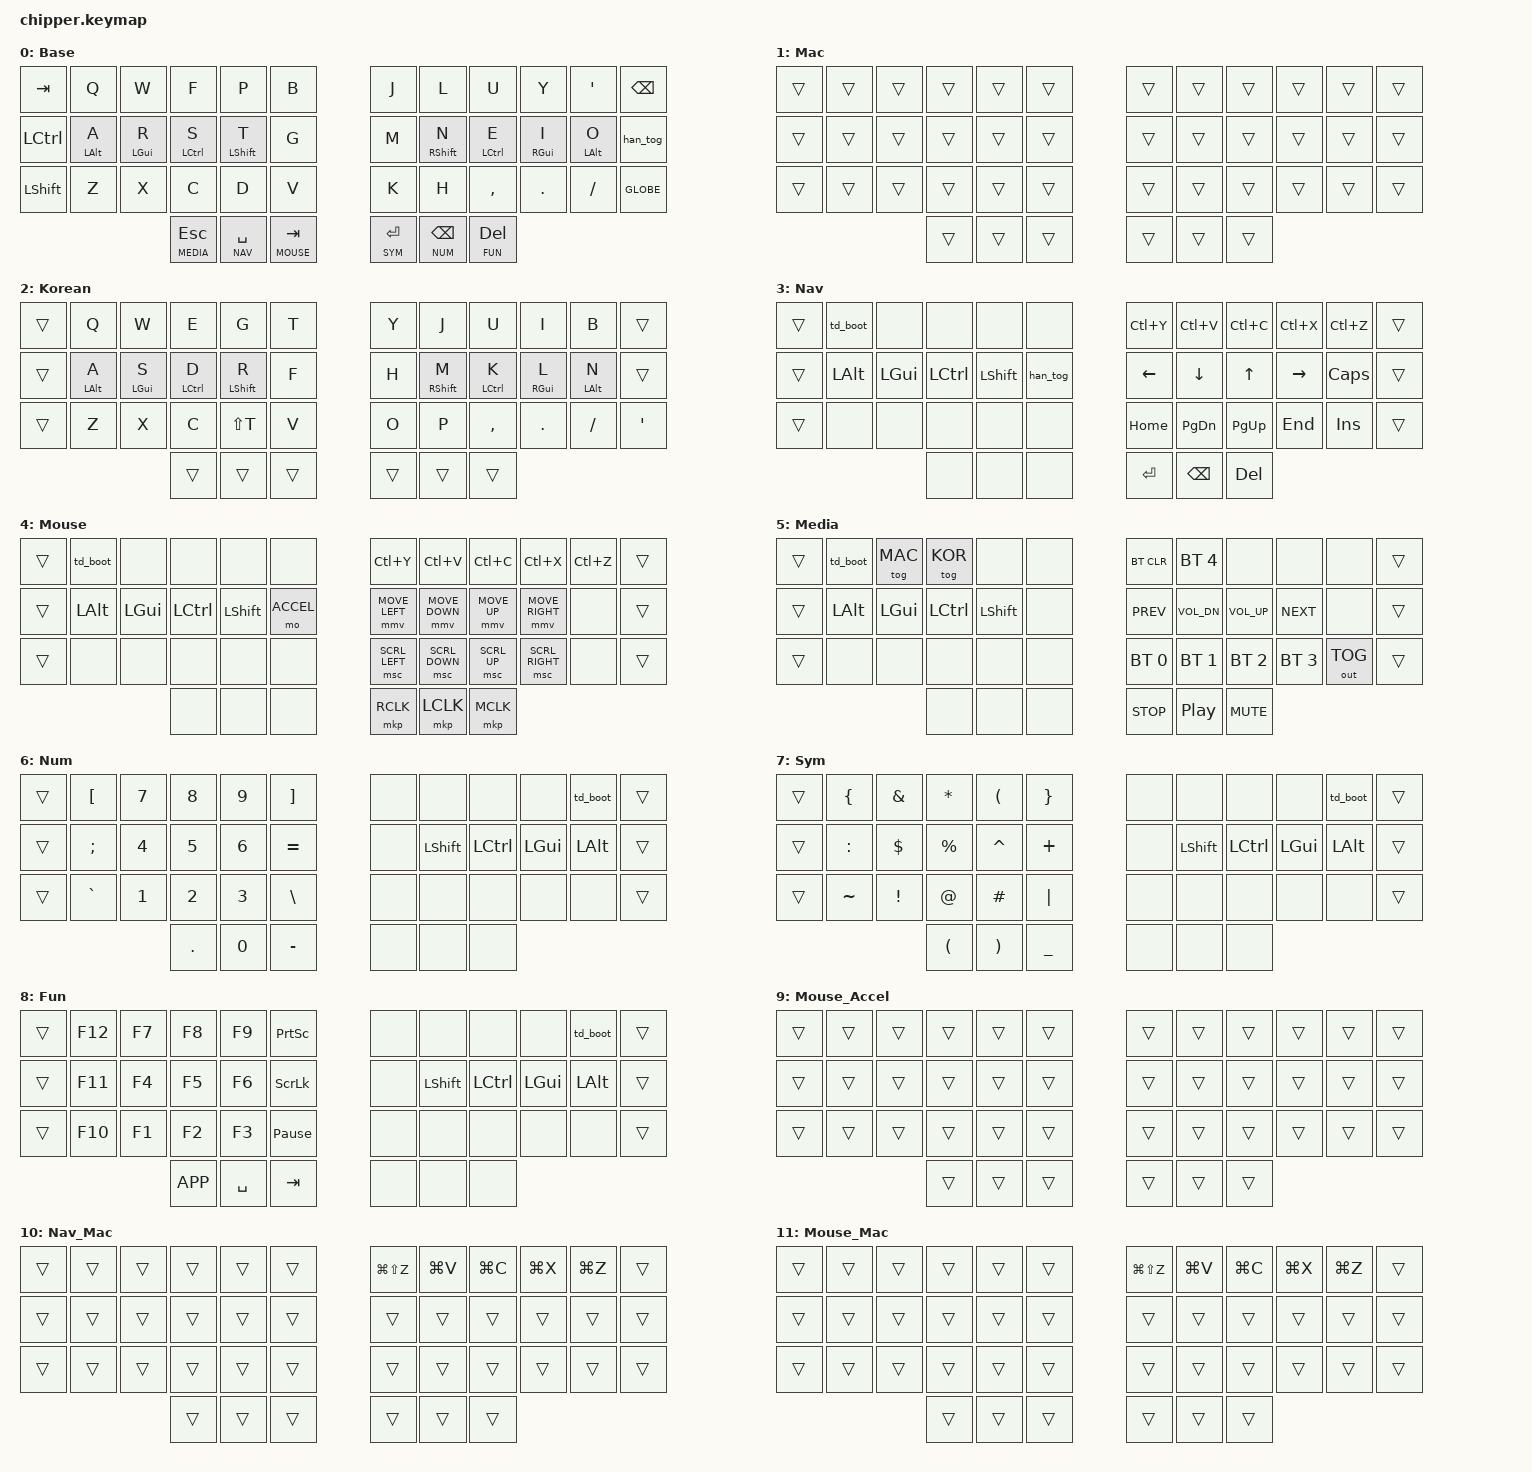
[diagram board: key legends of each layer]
#include <behaviors.dtsi>
#include <dt-bindings/zmk/keys.h>
#include <dt-bindings/zmk/bt.h>
#include <dt-bindings/zmk/outputs.h>
#include <dt-bindings/zmk/pointing.h>
#include <input/processors.dtsi>

#define BASE    0
#define MAC     1
#define KOR     2
#define NAV     3
#define MOUSE   4
#define MEDIA   5
#define NUM     6
#define SYM     7
#define FUN     8
#define ACCEL   9
#define NAV_MAC 10
#define MOU_MAC 11

// Key the OS uses to switch Korean <-> English input
#define HAN_SWITCH LANG_HANGEUL

// Clipboard: Ctrl based (Windows / Linux)
#define U_UND &kp LC(Z)
#define U_CUT &kp LC(X)
#define U_CPY &kp LC(C)
#define U_PST &kp LC(V)
#define U_RDO &kp LC(Y)

// Clipboard: Cmd based (macOS)
#define M_UND &kp LG(Z)
#define M_CUT &kp LG(X)
#define M_CPY &kp LG(C)
#define M_PST &kp LG(V)
#define M_RDO &kp LG(LS(Z))

#define U_NA &none
#define ___ &trans

/ {
    combos {
        compatible = "zmk,combos";

        cmb_ctrl_grave {
            bindings = <&kp LC(GRAVE)>;
            key-positions = <25 29>;
            layers = <BASE MAC KOR>;
        };

        cmb_alt_f4 {
            bindings = <&kp LA(F4)>;
            key-positions = <1 28>;
            layers = <BASE MAC KOR>;
        };

        cmb_caps_word {
            bindings = <&caps_word>;
            key-positions = <17 18>;
            layers = <BASE MAC KOR>;
        };
    };

    behaviors {
        hml: home_row_mods_left {
            compatible = "zmk,behavior-hold-tap";
            bindings = <&kp>, <&kp>;

            #binding-cells = <2>;
            tapping-term-ms = <200>;
            flavor = "tap-preferred";
            hold-trigger-key-positions = <6 7 8 9 10 11 18 19 20 21 22 23 30 31 32 33 34 35 36 37 38 39 40 41>;
            hold-trigger-on-release;
        };

        hmr: home_row_mods_right {
            compatible = "zmk,behavior-hold-tap";
            bindings = <&kp>, <&kp>;

            #binding-cells = <2>;
            tapping-term-ms = <200>;
            flavor = "tap-preferred";
            hold-trigger-key-positions = <0 1 2 3 4 5 12 13 14 15 16 17 24 25 26 27 28 29 36 37 38 39 40 41>;
            hold-trigger-on-release;
        };

        // Layer-tap for thumbs
        lth: layer_tap_hold {
            compatible = "zmk,behavior-hold-tap";
            bindings = <&mo>, <&kp>;

            #binding-cells = <2>;
            tapping-term-ms = <200>;
            quick-tap-ms = <200>;
            flavor = "balanced";
        };

        // Switch OS input method and KOR layer together
        han_tog: han_toggle {
            compatible = "zmk,behavior-macro";
            #binding-cells = <0>;
            bindings = <&macro_tap &kp HAN_SWITCH &tog KOR>;
        };

        // Double tap to enter bootloader (avoids accidental presses)
        td_boot: tap_dance_boot {
            compatible = "zmk,behavior-tap-dance";
            #binding-cells = <0>;
            tapping-term-ms = <200>;
            bindings = <&none>, <&bootloader>;
        };
    };

    keymap {
        compatible = "zmk,keymap";

        base_layer {
            // | TAB  |  Q  |  W  |  F  |  P  |  B  |   |  J  |  L  |  U  |  Y  |  '  | BSPC |
            // | CTRL | A/A | R/G | S/C | T/S |  G  |   |  M  | N/S | E/C | I/G | O/A | HAN  |
            // | SHFT |  Z  |  X  |  C  |  D  |  V  |   |  K  |  H  |  ,  |  .  |  /  | GLOB |
            //           | ESC/MED | SPC/NAV | TAB/MOU |   | ENT/SYM | BSPC/NUM | DEL/FUN |
            // Home row mods, index to pinky: S=SHIFT C=CTRL G=GUI(Cmd) A=ALT. HAN=&han_tog

            display-name = "Base";
            bindings = <
&kp TAB    &kp Q            &kp W         &kp F          &kp P           &kp B             &kp J              &kp L           &kp U          &kp Y         &kp SQT              &kp BSPC
&kp LCTRL  &hml LALT A      &hml LGUI R   &hml LCTRL S   &hml LSHFT T    &kp G             &kp M              &hmr RSHFT N    &hmr LCTRL E   &hmr RGUI I   &hmr LALT O          &han_tog
&kp LSHFT  &kp Z            &kp X         &kp C          &kp D           &kp V             &kp K              &kp H           &kp COMMA      &kp DOT       &kp FSLH             &kp GLOBE
                                          &lth MEDIA ESC &lth NAV SPACE  &lth MOUSE TAB    &lth SYM ENTER     &lth NUM BSPC   &lth FUN DEL
            >;
        };

        mac_layer {
            // Toggled from Media layer. No keys of its own (all &trans):
            // it enables the *_MAC conditional layers below (Cmd based clipboard keys).

            display-name = "Mac";
            bindings = <
___  ___  ___  ___  ___  ___    ___  ___  ___  ___  ___  ___
___  ___  ___  ___  ___  ___    ___  ___  ___  ___  ___  ___
___  ___  ___  ___  ___  ___    ___  ___  ___  ___  ___  ___
               ___  ___  ___    ___  ___  ___
            >;
        };

        kor_layer {
            // Dujul-e (두줄이). Jamo shown; each key sends the Dubeolsik keycode for that jamo.
            // |      |  ㅂ |  ㅈ |  ㄷ |  ㅎ |  ㅅ |   |  ㅛ |  ㅓ |  ㅕ |  ㅑ |  ㅠ |      |
            // |      |  ㅁ |  ㄴ |  ㅇ |  ㄱ |  ㄹ |   |  ㅗ |  ㅡ |  ㅏ |  ㅣ |  ㅜ | HAN  |
            // |      |  ㅋ |  ㅌ |  ㅊ |  ㅆ |  ㅍ |   |  ㅐ |  ㅔ |  ,  |  .  |  /  |  '   |
            // Same home row mods as Base. Shift gives ㅃㅉㄸㄲㅒㅖ as in Dubeolsik.
            // Drawing labels: keymap-drawer/chipper_korean.yaml (update together).

            display-name = "Korean";
            bindings = <
___  &kp Q            &kp W         &kp E          &kp G           &kp T         &kp Y   &kp J           &kp U          &kp I          &kp B              ___
___  &hml LALT A      &hml LGUI S   &hml LCTRL D   &hml LSHFT R    &kp F         &kp H   &hmr RSHFT M    &hmr LCTRL K   &hmr RGUI L    &hmr LALT N        ___
___  &kp Z            &kp X         &kp C          &kp LS(T)       &kp V         &kp O   &kp P           &kp COMMA      &kp DOT        &kp FSLH           &kp SQT
                                    ___            ___             ___           ___     ___             ___
            >;
        };

        nav_layer {
            // | BOOT                |   | RDO  PST  CPY  CUT  UND |
            // | ALT GUI CTL SFT HAN |   | LEFT DOWN UP   RGHT CAPS |
            // |                     |   | HOME PGDN PGUP END  INS  |
            //                       |   | ENT  BSPC DEL |
            // Miryoku vi variant: arrows on QWERTY h j k l positions

            display-name = "Nav";
            bindings = <
___  &td_boot  U_NA       U_NA        U_NA        U_NA         U_RDO        U_PST       U_CPY        U_CUT        U_UND        ___
___  &kp LALT  &kp LGUI   &kp LCTRL   &kp LSHFT   &han_tog     &kp LEFT     &kp DOWN    &kp UP       &kp RIGHT    &kp CAPS     ___
___  U_NA      U_NA       U_NA        U_NA        U_NA         &kp HOME     &kp PG_DN   &kp PG_UP    &kp END      &kp INS      ___
                          U_NA        U_NA        U_NA         &kp ENTER    &kp BSPC    &kp DEL
            >;
        };

        mouse_layer {
            // | BOOT                |   | RDO  PST  CPY  CUT  UND |
            // | ALT GUI CTL SFT ACC |   | MS_L MS_D MS_U MS_R      |
            // |                     |   | WH_L WH_D WH_U WH_R      |
            //                       |   | RCLK LCLK MCLK |
            // ACC = hold for faster pointer (Mouse_Accel layer)
            // Miryoku vi variant: movement on QWERTY h j k l positions

            display-name = "Mouse";
            bindings = <
___  &td_boot  U_NA       U_NA        U_NA        U_NA         U_RDO            U_PST            U_CPY          U_CUT             U_UND   ___
___  &kp LALT  &kp LGUI   &kp LCTRL   &kp LSHFT   &mo ACCEL    &mmv MOVE_LEFT   &mmv MOVE_DOWN   &mmv MOVE_UP   &mmv MOVE_RIGHT   U_NA    ___
___  U_NA      U_NA       U_NA        U_NA        U_NA         &msc SCRL_LEFT   &msc SCRL_DOWN   &msc SCRL_UP   &msc SCRL_RIGHT   U_NA    ___
                          U_NA        U_NA        U_NA         &mkp RCLK    &mkp LCLK        &mkp MCLK
            >;
        };

        media_layer {
            // | BOOT MAC KOR        |   | BTCLR BT4                 |
            // | ALT GUI CTL SFT     |   | PREV  VOL- VOL+ NEXT      |
            // |                     |   | BT0   BT1  BT2  BT3  OUT  |
            //                       |   | STOP  PLAY MUTE |
            // MAC = toggle macOS mode (Cmd based clipboard keys)
            // KOR = toggle KOR layer only (resync when OS input method and layer disagree)

            display-name = "Media";
            bindings = <
___  &td_boot  &tog MAC   &tog KOR    U_NA        U_NA       &bt BT_CLR     &bt BT_SEL 4   U_NA            U_NA            U_NA           ___
___  &kp LALT  &kp LGUI   &kp LCTRL   &kp LSHFT   U_NA         &kp C_PREV     &kp C_VOL_DN   &kp C_VOL_UP    &kp C_NEXT      U_NA           ___
___  U_NA      U_NA       U_NA        U_NA        U_NA         &bt BT_SEL 0   &bt BT_SEL 1   &bt BT_SEL 2    &bt BT_SEL 3    &out OUT_TOG   ___
                          U_NA        U_NA        U_NA         &kp C_STOP     &kp C_PP       &kp C_MUTE
            >;
        };

        num_layer {
            // | [  7  8  9  ] |   |              BOOT |
            // | ;  4  5  6  = |   |   SFT CTL GUI ALT |
            // | `  1  2  3  \ |   |                   |
            //       | .  0  - |   |

            display-name = "Num";
            bindings = <
___  &kp LBKT   &kp N7  &kp N8   &kp N9   &kp RBKT     U_NA   U_NA        U_NA        U_NA       &td_boot   ___
___  &kp SEMI   &kp N4  &kp N5   &kp N6   &kp EQUAL    U_NA   &kp LSHFT   &kp LCTRL   &kp LGUI   &kp LALT   ___
___  &kp GRAVE  &kp N1  &kp N2   &kp N3   &kp BSLH     U_NA   U_NA        U_NA        U_NA       U_NA       ___
                        &kp DOT  &kp N0   &kp MINUS    U_NA   U_NA        U_NA
            >;
        };

        sym_layer {
            // | {  &  *  (  } |   |              BOOT |
            // | :  $  %  ^  + |   |   SFT CTL GUI ALT |
            // | ~  !  @  #  | |   |                   |
            //       | (  )  _ |   |

            display-name = "Sym";
            bindings = <
___  &kp LBRC   &kp AMPS    &kp STAR     &kp LPAR     &kp RBRC     U_NA   U_NA        U_NA        U_NA       &td_boot   ___
___  &kp COLON  &kp DLLR    &kp PRCNT    &kp CARET    &kp PLUS     U_NA   &kp LSHFT   &kp LCTRL   &kp LGUI   &kp LALT   ___
___  &kp TILDE  &kp EXCL    &kp AT       &kp HASH     &kp PIPE     U_NA   U_NA        U_NA        U_NA       U_NA       ___
                            &kp LPAR     &kp RPAR     &kp UNDER    U_NA   U_NA        U_NA
            >;
        };

        fun_layer {
            // | F12 F7 F8 F9 PSCR |   |              BOOT |
            // | F11 F4 F5 F6 SLCK |   |   SFT CTL GUI ALT |
            // | F10 F1 F2 F3 PAUS |   |                   |
            //       | APP SPC TAB |   |

            display-name = "Fun";
            bindings = <
___  &kp F12   &kp F7   &kp F8      &kp F9      &kp PSCRN         U_NA   U_NA        U_NA        U_NA       &td_boot   ___
___  &kp F11   &kp F4   &kp F5      &kp F6      &kp SLCK          U_NA   &kp LSHFT   &kp LCTRL   &kp LGUI   &kp LALT   ___
___  &kp F10   &kp F1   &kp F2      &kp F3      &kp PAUSE_BREAK   U_NA   U_NA        U_NA        U_NA       U_NA       ___
                        &kp K_APP   &kp SPACE   &kp TAB           U_NA   U_NA        U_NA
            >;
        };

        mouse_accel_layer {
            // Hold (&mo ACCEL on Mouse layer) to speed up mouse movement (see &mmv_input_listener)
            display-name = "Mouse_Accel";
            bindings = <
___  ___  ___  ___  ___  ___    ___  ___  ___  ___  ___  ___
___  ___  ___  ___  ___  ___    ___  ___  ___  ___  ___  ___
___  ___  ___  ___  ___  ___    ___  ___  ___  ___  ___  ___
               ___  ___  ___    ___  ___  ___
            >;
        };

        // ---- macOS overrides (active via conditional_layers when MAC is on) ----
        // Cmd based clipboard keys on the Nav and Mouse layers

        nav_mac_layer {
            display-name = "Nav_Mac";
            bindings = <
___  ___  ___  ___  ___  ___    M_RDO   M_PST   M_CPY   M_CUT   M_UND   ___
___  ___  ___  ___  ___  ___    ___     ___     ___     ___     ___     ___
___  ___  ___  ___  ___  ___    ___     ___     ___     ___     ___     ___
               ___  ___  ___    ___     ___     ___
            >;
        };

        mouse_mac_layer {
            display-name = "Mouse_Mac";
            bindings = <
___  ___  ___  ___  ___  ___    M_RDO   M_PST   M_CPY   M_CUT   M_UND   ___
___  ___  ___  ___  ___  ___    ___     ___     ___     ___     ___     ___
___  ___  ___  ___  ___  ___    ___     ___     ___     ___     ___     ___
               ___  ___  ___    ___     ___     ___
            >;
        };
    };

    conditional_layers {
        compatible = "zmk,conditional-layers";

        nav_mac {
            if-layers = <NAV MAC>;
            then-layer = <NAV_MAC>;
        };

        mouse_mac {
            if-layers = <MOUSE MAC>;
            then-layer = <MOU_MAC>;
        };
    };
};

&mmv {
    acceleration-exponent = <2>;
};

&mmv_input_listener {
    accel {
        layers = <ACCEL>;
        input-processors = <&zip_xy_scaler 2 1>;
    };
};
